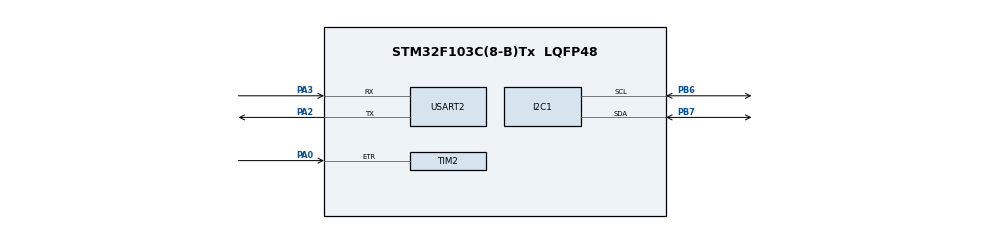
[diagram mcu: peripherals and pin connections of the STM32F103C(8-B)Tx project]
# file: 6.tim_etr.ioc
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Dma.Request0=USART2_TX
Dma.USART2_TX.0.Direction=DMA_MEMORY_TO_PERIPH
Dma.USART2_TX.0.Instance=DMA1_Channel7
Dma.USART2_TX.0.MemDataAlignment=DMA_MDATAALIGN_BYTE
Dma.USART2_TX.0.MemInc=DMA_MINC_ENABLE
Dma.USART2_TX.0.Mode=DMA_NORMAL
Dma.USART2_TX.0.PeriphDataAlignment=DMA_PDATAALIGN_BYTE
Dma.USART2_TX.0.PeriphInc=DMA_PINC_DISABLE
Dma.USART2_TX.0.Priority=DMA_PRIORITY_LOW
I2C1.I2C_Mode=I2C_Fast
Mcu.Family=STM32F1
Mcu.Name=STM32F103C(8-B)Tx
Mcu.Package=LQFP48
NVIC.DMA1_Channel7_IRQn=true\:0\:0\:false\:false\:true\:false\:true\:true
NVIC.PriorityGroup=NVIC_PRIORITYGROUP_4
NVIC.USART2_IRQn=true\:0\:0\:false\:false\:true\:false\:true\:true
PA0-WKUP.Signal=S_TIM2_CH1_ETR
PA13.Mode=Serial_Wire
PA13.Signal=SYS_JTMS-SWDIO
PA14.Mode=Serial_Wire
PA14.Signal=SYS_JTCK-SWCLK
PA2.Mode=Asynchronous
PA2.Signal=USART2_TX
PA3.Mode=Asynchronous
PA3.Signal=USART2_RX
PB6.Mode=I2C
PB6.Signal=I2C1_SCL
PB7.Mode=I2C
PB7.Signal=I2C1_SDA
PD0-OSC_IN.Mode=HSE-External-Oscillator
PD0-OSC_IN.Signal=RCC_OSC_IN
PD1-OSC_OUT.Mode=HSE-External-Oscillator
PD1-OSC_OUT.Signal=RCC_OSC_OUT
ProjectManager.HeapSize=0x200
ProjectManager.StackSize=0x400
ProjectManager.TargetToolchain=CMake
RCC.APB1Freq_Value=8000000
RCC.APB2Freq_Value=8000000
SH.S_TIM2_CH1_ETR.0=TIM2_ETR,ClockSourceETR_Mode2
TIM2.ClockFilter=15
USART2.VirtualMode=VM_ASYNC
board=custom

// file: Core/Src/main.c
/* USER CODE BEGIN Header */
/**
  ******************************************************************************
  * @file           : main.c
  * @brief          : Main program body
  ******************************************************************************
  * @attention
  *
  * Copyright (c) 2026 STMicroelectronics.
  * All rights reserved.
  *
  * This software is licensed under terms that can be found in the LICENSE file
  * in the root directory of this software component.
  * If no LICENSE file comes with this software, it is provided AS-IS.
  *
  ******************************************************************************
  */
/* USER CODE END Header */
#include "main.h"
#include "dma.h"
#include "i2c.h"
#include "tim.h"
#include "usart.h"
#include "gpio.h"

/* USER CODE BEGIN Includes */
#include "oled.h"
#include <stdint.h>
#include <stdio.h>
#include <string.h>
/* USER CODE END Includes */

void SystemClock_Config(void);

/* USER CODE BEGIN 0 */

/*Reset Mode*/
// static const char *message_reload_auto="Reloaded(Auto).\n";
// static const char *message_reload_manual="Reloaded(Manual).\n";
// void HAL_TIM_PeriodElapsedCallback(TIM_HandleTypeDef *htim){
//   if(htim==&htim2){
//     if(__HAL_TIM_GET_FLAG(htim,TIM_FLAG_TRIGGER)==SET){
//       __HAL_TIM_CLEAR_FLAG(htim, TIM_FLAG_TRIGGER);
//       HAL_UART_Transmit_IT(&huart2, (uint8_t*)message_reload_manual,strlen(message_reload_manual));
//       return;
//     }else{
//       HAL_UART_Transmit_IT(&huart2, (uint8_t*)message_reload_auto,strlen(message_reload_auto));
//       return;
//     }
//   }
// }

/* Gated Mode/Trigger Mode */
// static const char *message_reload_auto="Reloaded(Auto).\n";
// void HAL_TIM_PeriodElapsedCallback(TIM_HandleTypeDef *htim){
//   if(htim==&htim2){
//     HAL_UART_Transmit_IT(&huart2, (uint8_t*)message_reload_auto,strlen(message_reload_auto));
//     return;
//   }
// }

/* USER CODE END 0 */

int main(void)
{

  /* MCU Configuration--------------------------------------------------------*/

  /* Reset of all peripherals, Initializes the Flash interface and the Systick. */
  HAL_Init();

  /* USER CODE BEGIN Init */
  HAL_Delay(20);
  OLED_Init();
  /* USER CODE END Init */

  /* Configure the system clock */
  SystemClock_Config();

  /* Initialize all configured peripherals */
  MX_GPIO_Init();
  MX_DMA_Init();
  MX_I2C1_Init();
  MX_USART2_UART_Init();
  MX_TIM2_Init();
  /* USER CODE BEGIN 2 */
  // HAL_TIM_Base_Start(&htim2);
  HAL_TIM_Base_Start_IT(&htim2);
  int counter=0,counter_temp=-1;
  char sendBuffer[20]="";
  /* USER CODE END 2 */

  /* Infinite loop */
  while (1)
  {

    /* USER CODE BEGIN 3 */

    /*Counter*/
    counter=__HAL_TIM_GET_COUNTER(&htim2);
    if(counter!=counter_temp){
      OLED_NewFrame();
      sprintf(sendBuffer, "counter:%d",counter);
      OLED_PrintString(0, 0, sendBuffer, &font16x16, OLED_COLOR_NORMAL);
      OLED_ShowFrame();
      counter_temp=counter;
      sprintf(sendBuffer, "counter:%d",counter);
      HAL_UART_Transmit_IT(&huart2, (uint8_t*)sendBuffer, strlen(sendBuffer));
    }

    /*Reset Mode*/
    // counter=__HAL_TIM_GET_COUNTER(&htim2);
    // sprintf(sendBuffer, "counter:%d",counter);
    // HAL_UART_Transmit_IT(&huart2, (uint8_t*)sendBuffer, strlen(sendBuffer));
    // HAL_Delay(500);

    /* Gated Mode */
    // const char *message_gate="Gated Mode triggered.\n";
    // if(__HAL_TIM_GET_FLAG(&htim2,TIM_FLAG_TRIGGER)==1){
    //   __HAL_TIM_CLEAR_FLAG(&htim2,TIM_FLAG_TRIGGER);
    //   HAL_UART_Transmit_IT(&huart2, (uint8_t*)message_gate, strlen(message_gate));
    // }
    // counter=__HAL_TIM_GET_COUNTER(&htim2);
    // sprintf(sendBuffer, "counter:%d",counter);
    // HAL_UART_Transmit_IT(&huart2, (uint8_t*)sendBuffer, strlen(sendBuffer));
    // HAL_Delay(500);

    /* Trigger Mode */
    // const char *message_trigger="Trigger Mode triggered.\n";
    // if(__HAL_TIM_GET_FLAG(&htim2,TIM_FLAG_TRIGGER)==1){
    //   __HAL_TIM_CLEAR_FLAG(&htim2,TIM_FLAG_TRIGGER);
    //   HAL_UART_Transmit_IT(&huart2, (uint8_t*)message_trigger, strlen(message_trigger));
    // }
    // counter=__HAL_TIM_GET_COUNTER(&htim2);
    // sprintf(sendBuffer, "counter:%d",counter);
    // HAL_UART_Transmit_IT(&huart2, (uint8_t*)sendBuffer, strlen(sendBuffer));
    // HAL_Delay(500);

  }
  /* USER CODE END 3 */
}

void SystemClock_Config(void)
{
  RCC_OscInitTypeDef RCC_OscInitStruct = {0};
  RCC_ClkInitTypeDef RCC_ClkInitStruct = {0};

  /** Initializes the RCC Oscillators according to the specified parameters
  * in the RCC_OscInitTypeDef structure.
  */
  RCC_OscInitStruct.OscillatorType = RCC_OSCILLATORTYPE_HSI;
  RCC_OscInitStruct.HSIState = RCC_HSI_ON;
  RCC_OscInitStruct.HSICalibrationValue = RCC_HSICALIBRATION_DEFAULT;
  RCC_OscInitStruct.PLL.PLLState = RCC_PLL_NONE;
  if (HAL_RCC_OscConfig(&RCC_OscInitStruct) != HAL_OK)
  {
    Error_Handler();
  }

  /** Initializes the CPU, AHB and APB buses clocks
  */
  RCC_ClkInitStruct.ClockType = RCC_CLOCKTYPE_HCLK|RCC_CLOCKTYPE_SYSCLK
                              |RCC_CLOCKTYPE_PCLK1|RCC_CLOCKTYPE_PCLK2;
  RCC_ClkInitStruct.SYSCLKSource = RCC_SYSCLKSOURCE_HSI;
  RCC_ClkInitStruct.AHBCLKDivider = RCC_SYSCLK_DIV1;
  RCC_ClkInitStruct.APB1CLKDivider = RCC_HCLK_DIV1;
  RCC_ClkInitStruct.APB2CLKDivider = RCC_HCLK_DIV1;

  if (HAL_RCC_ClockConfig(&RCC_ClkInitStruct, FLASH_LATENCY_0) != HAL_OK)
  {
    Error_Handler();
  }
}

void Error_Handler(void)
{
  __disable_irq();
  while (1)
  {
  }
}
